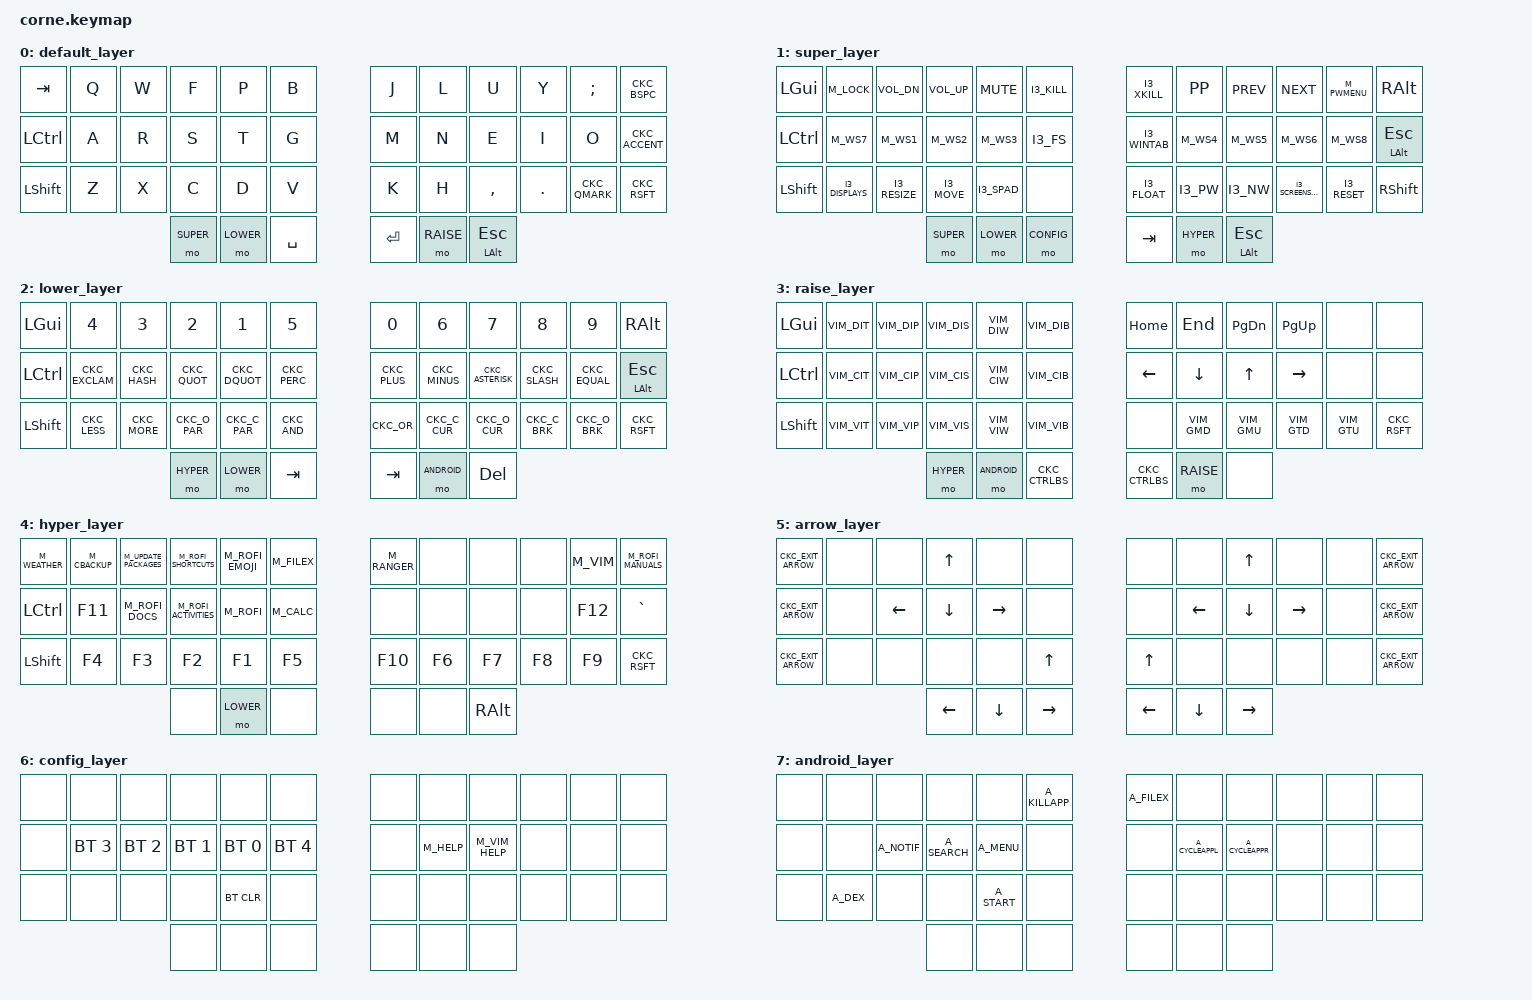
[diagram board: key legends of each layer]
// Copyright (c) 2022 Zeioth (Adrian Lopez)
// License: Creative Commons 3.0


/* PERSONAL NOTES:
 1. On vim you can enable C syntax for this file:
    :set syntax=C
*/

// TODOS: La tecla launcher de hyper no parece funcionar?

// Includes
// ---------------------------------------
#include <behaviors.dtsi>
#include <dt-bindings/zmk/keys.h>
#include <dt-bindings/zmk/bt.h>
#include "./helpers.h"

// LAYER ALIASES
// ---------------------------------------
#define DEFAULT 0
#define SUPER   1
#define LOWER   2
#define RAISE   3
#define HYPER   4
#define ARROW   5
#define CONFIG  6
#define ANDROID 7
#define NONE    0

// SPANISH KEYCODE ALIASES
// ---------------------------------------
#define ES_MINS SLASH // -
#define ES_ACUT QUOT  // ´ (dead)
#define ES_GRV  LBKT  // ` (dead)
#define ES_QUOT MINUS // '
#define ES_IEXL EQUAL // ¡
#define ES_PLUS RBKT  // +
#define ES_MORD GRAVE // º
#define ES_LABK NUBS  // <
#define ES_CCED NUHS  // Ç


// KEYMAPS
// ----------------------------------------------------------------------
ZMK_LAYER(default_layer, //  ########################################################################################################################################################

     // ╭─────────────┬─────────────┬─────────────┬─────────────┬─────────────┬─────────────╮   ╭─────────────┬─────────────┬─────────────┬─────────────┬─────────────┬─────────────╮
          &kp TAB       &kp Q         &kp W         &kp F         &kp P         &kp B             &kp J         &kp L         &kp U         &kp Y         &kp SEMI      &CKC_BSPC
     // ├─────────────┼─────────────┼─────────────┼─────────────┼─────────────┼─────────────┤   ├─────────────┼─────────────┼─────────────┼─────────────┼─────────────┼─────────────┤
          &kp LCTRL     &kp A         &kp R         &kp S         &kp T         &kp G             &kp M         &kp N         &kp E         &kp I         &kp O         &CKC_ACCENT
     // ├─────────────┼─────────────┼─────────────┼─────────────┼─────────────┼─────────────┤   ├─────────────┼─────────────┼─────────────┼─────────────┼─────────────┼─────────────┤
          &kp LSHFT     &kp Z         &kp X         &kp C         &kp D         &kp V             &kp K         &kp H         &kp COMMA     &kp DOT       &CKC_QMARK    &CKC_RSFT
     // ╰─────────────┼─────────────┼─────────────┼─────────────┼─────────────┼─────────────┤   ├─────────────┼─────────────┼─────────────┼─────────────┼─────────────┼─────────────┤
                                                    &mo SUPER     &mo LOWER     &kp SPACE         &kp RET       &mo RAISE     &mt LALT ESC
     //                                           ╰─────────────┴─────────────┴─────────────╯   ╰─────────────┴─────────────┴─────────────╯
)
ZMK_LAYER(super_layer,
     // ╭─────────────┬─────────────┬─────────────┬─────────────┬─────────────┬─────────────╮   ╭─────────────┬─────────────┬─────────────┬───────────────┬─────────────┬─────────────╮
          &kp LGUI      &M_LOCK       &kp K_VOL_DN  &kp K_VOL_UP  &kp K_MUTE    &I3_KILL          &I3_XKILL     &kp K_PP      &kp K_PREV    &kp K_NEXT     &M_PWMENU     &kp RALT
     // ├─────────────┼─────────────┼─────────────┼─────────────┼─────────────┼─────────────┤   ├─────────────┼─────────────┼─────────────┼───────────────┼─────────────┼─────────────┤
          &kp LCTRL     &M_WS7        &M_WS1        &M_WS2        &M_WS3        &I3_FS            &I3_WINTAB    &M_WS4        &M_WS5        &M_WS6         &M_WS8        &mt LALT ESC
     // ├─────────────┼─────────────┼─────────────┼─────────────┼─────────────┼─────────────┤   ├─────────────┼─────────────┼─────────────┼───────────────┼─────────────┼─────────────┤
          &kp LSHFT     &I3_DISPLAYS  &I3_RESIZE    &I3_MOVE      &I3_SPAD      &none             &I3_FLOAT     &I3_PW        &I3_NW        &I3_SCREENSHOT &I3_RESET     &kp RSHFT
     // ╰─────────────┼─────────────┼─────────────┼─────────────┼─────────────┼─────────────┤   ├─────────────┼─────────────┼─────────────┼───────────────┼─────────────┼─────────────┤
                                                    &mo SUPER    &mo LOWER      &mo CONFIG        &kp TAB       &mo HYPER     &mt LALT ESC
     //                                           ╰─────────────┴─────────────┴─────────────╯   ╰─────────────┴─────────────┴─────────────╯
)
ZMK_LAYER(lower_layer,
     // ╭─────────────┬─────────────┬─────────────┬─────────────┬─────────────┬─────────────╮   ╭─────────────┬─────────────┬──────────────┬─────────────┬─────────────┬─────────────╮
          &kp LGUI      &kp N4        &kp N3        &kp N2        &kp N1        &kp N5            &kp N0        &kp N6        &kp N7         &kp N8        &kp N9        &kp RALT
     // ├─────────────┼─────────────┼─────────────┼─────────────┼─────────────┼─────────────┤   ├─────────────┼─────────────┼──────────────┼─────────────┼─────────────┼─────────────┤
          &kp LCTRL     &CKC_EXCLAM   &CKC_HASH     &CKC_QUOT     &CKC_DQUOT    &CKC_PERC         &CKC_PLUS     &CKC_MINUS    &CKC_ASTERISK  &CKC_SLASH    &CKC_EQUAL    &mt LALT ESC
     // ├─────────────┼─────────────┼─────────────┼─────────────┼─────────────┼─────────────┤   ├─────────────┼─────────────┼──────────────┼─────────────┼─────────────┼─────────────┤
          &kp LSHFT     &CKC_LESS     &CKC_MORE     &CKC_O_PAR    &CKC_C_PAR    &CKC_AND          &CKC_OR       &CKC_C_CUR    &CKC_O_CUR     &CKC_C_BRK    &CKC_O_BRK    &CKC_RSFT
     // ╰─────────────┼─────────────┼─────────────┼─────────────┼─────────────┼─────────────┤   ├─────────────┼─────────────┼──────────────┼─────────────┼─────────────┼─────────────┤
                                                    &mo HYPER     &mo LOWER     &kp TAB           &kp TAB       &mo ANDROID   &kp DEL
     //                                           ╰─────────────┴─────────────┴─────────────╯   ╰─────────────┴─────────────┴──────────────╯
)
ZMK_LAYER(raise_layer,
     // ╭─────────────┬─────────────┬─────────────┬─────────────┬─────────────┬─────────────╮   ╭─────────────┬─────────────┬──────────────┬─────────────┬─────────────┬─────────────╮
          &kp LGUI      &VIM_DIT      &VIM_DIP      &VIM_DIS      &VIM_DIW      &VIM_DIB          &kp HOME      &kp END       &kp PAGE_DOWN &kp PAGE_UP    &none         &none
     // ├─────────────┼─────────────┼─────────────┼─────────────┼─────────────┼─────────────┤   ├─────────────┼─────────────┼──────────────┼─────────────┼─────────────┼─────────────┤
          &kp LCTRL     &VIM_CIT      &VIM_CIP      &VIM_CIS      &VIM_CIW      &VIM_CIB          &kp LEFT      &kp DOWN      &kp UP        &kp RIGHT      &none         &none
     // ├─────────────┼─────────────┼─────────────┼─────────────┼─────────────┼─────────────┤   ├─────────────┼─────────────┼──────────────┼─────────────┼─────────────┼─────────────┤
          &kp LSHFT     &VIM_VIT      &VIM_VIP      &VIM_VIS      &VIM_VIW      &VIM_VIB          &none         &VIM_GMD      &VIM_GMU      &VIM_GTD       &VIM_GTU      &CKC_RSFT
     // ╰─────────────┼─────────────┼─────────────┼─────────────┼─────────────┼─────────────┤   ├─────────────┼─────────────┼──────────────┼─────────────┼─────────────┼─────────────┤
                                                    &mo HYPER     &mo ANDROID   &CKC_CTRLBS       &CKC_CTRLBS   &mo RAISE     &none
     //                                           ╰─────────────┴─────────────┴─────────────╯   ╰─────────────┴─────────────┴──────────────╯
)
ZMK_LAYER(hyper_layer,
     // ╭─────────────┬─────────────┬───────────────────┬───────────────────┬──────────────┬─────────────╮   ╭─────────────┬─────────────┬─────────────┬─────────────┬─────────────┬────────────────╮
          &M_WEATHER    &M_CBACKUP    &M_UPDATE_PACKAGES  &M_ROFI_SHORTCUTS   &M_ROFI_EMOJI  &M_FILEX          &M_RANGER     &none          &none        &none         &M_VIM        &M_ROFI_MANUALS
     // ├─────────────┼─────────────┼───────────────────┼───────────────────┼──────────────┼─────────────┤   ├─────────────┼─────────────┼─────────────┼─────────────┼─────────────┼────────────────┤
          &kp LCTRL     &kp F11       &M_ROFI_DOCS        &M_ROFI_ACTIVITIES  &M_ROFI        &M_CALC           &none         &none         &none         &none         &kp F12       &kp GRAVE
     // ├─────────────┼─────────────┼───────────────────┼───────────────────┼──────────────┼─────────────┤   ├─────────────┼─────────────┼─────────────┼─────────────┼─────────────┼────────────────┤
          &kp LSHFT     &kp F4        &kp F3              &kp F2              &kp F1         &kp F5            &kp F10       &kp F6        &kp F7        &kp F8        &kp F9        &CKC_RSFT
     // ╰─────────────┼─────────────┼───────────────────┼───────────────────┼──────────────┼─────────────┤   ├─────────────┼─────────────┼─────────────┼─────────────┼─────────────┼────────────────┤
                                                          &none               &mo LOWER      &none             &none         &none         &kp RALT
     //                                                 ╰───────────────────┴──────────────┴─────────────╯   ╰─────────────┴─────────────┴─────────────╯
)
ZMK_LAYER(arrow_layer,
     // ╭────────────────┬─────────────┬─────────────┬─────────────┬─────────────┬─────────────╮   ╭─────────────┬─────────────┬─────────────┬─────────────┬─────────────┬────────────────╮
          &CKC_EXIT_ARROW  &none         &none         &kp UP        &none         &none             &none         &none         &kp UP        &none         &none         &CKC_EXIT_ARROW
     // ├────────────────┼─────────────┼─────────────┼─────────────┼─────────────┼─────────────┤   ├─────────────┼─────────────┼─────────────┼─────────────┼─────────────┼────────────────┤
          &CKC_EXIT_ARROW  &none         &kp LEFT      &kp DOWN      &kp RIGHT     &none             &none         &kp LEFT      &kp DOWN      &kp RIGHT     &none         &CKC_EXIT_ARROW
     // ├────────────────┼─────────────┼─────────────┼─────────────┼─────────────┼─────────────┤   ├─────────────┼─────────────┼─────────────┼─────────────┼─────────────┼────────────────┤
          &CKC_EXIT_ARROW  &none         &none         &none         &none         &kp UP            &kp UP        &none         &none         &none         &none         &CKC_EXIT_ARROW
     // ╰────────────────┼─────────────┼─────────────┼─────────────┼─────────────┼─────────────┤   ├─────────────┼─────────────┼─────────────┼─────────────┼─────────────┼────────────────┤
                                                       &kp LEFT      &kp DOWN      &kp RIGHT         &kp LEFT      &kp DOWN      &kp RIGHT
     //                                              ╰─────────────┴─────────────┴─────────────╯   ╰─────────────┴─────────────┴─────────────╯
)
ZMK_LAYER(config_layer,
     // ╭─────────────┬─────────────┬─────────────┬─────────────┬─────────────┬─────────────╮   ╭─────────────┬─────────────┬─────────────┬─────────────┬─────────────┬─────────────╮
          &none         &none         &none         &none         &none         &none             &none         &none         &none         &none         &none         &none
     // ├─────────────┼─────────────┼─────────────┼─────────────┼─────────────┼─────────────┤   ├─────────────┼─────────────┼─────────────┼─────────────┼─────────────┼─────────────┤
          &none         &bt BT_SEL 3  &bt BT_SEL 2  &bt BT_SEL 1  &bt BT_SEL 0  &bt BT_SEL 4      &none         &M_HELP       &M_VIM_HELP   &none         &none         &none
     // ├─────────────┼─────────────┼─────────────┼─────────────┼─────────────┼─────────────┤   ├─────────────┼─────────────┼─────────────┼─────────────┼─────────────┼─────────────┤
          &none         &none         &none         &none         &bt BT_CLR    &none             &none         &none         &none         &none         &none         &none
     // ╰─────────────┼─────────────┼─────────────┼─────────────┼─────────────┼─────────────┤   ├─────────────┼─────────────┼─────────────┼─────────────┼─────────────┼─────────────┤
                                                    &none         &none         &none             &none         &none         &none
     //                                           ╰─────────────┴─────────────┴─────────────╯   ╰─────────────┴─────────────┴─────────────╯
)
ZMK_LAYER(android_layer,
     // ╭─────────────┬─────────────┬─────────────┬─────────────┬─────────────┬─────────────╮   ╭─────────────┬─────────────┬─────────────┬─────────────┬─────────────┬─────────────╮
          &none         &none         &none         &none         &none         &A_KILLAPP        &A_FILEX      &none         &none         &none         &none         &none
     // ├─────────────┼─────────────┼─────────────┼─────────────┼─────────────┼─────────────┤   ├─────────────┼─────────────┼─────────────┼─────────────┼─────────────┼─────────────┤
          &none         &none         &A_NOTIF      &A_SEARCH     &A_MENU       &none             &none         &A_CYCLEAPPL  &A_CYCLEAPPR  &none         &none         &none
     // ├─────────────┼─────────────┼─────────────┼─────────────┼─────────────┼─────────────┤   ├─────────────┼─────────────┼─────────────┼─────────────┼─────────────┼─────────────┤
          &none         &A_DEX        &none         &none         &A_START      &none             &none         &none         &none         &none         &none         &none
     // ╰─────────────┼─────────────┼─────────────┼─────────────┼─────────────┼─────────────┤   ├─────────────┼─────────────┼─────────────┼─────────────┼─────────────┼─────────────┤
                                                    &none         &none         &none             &none         &none         &none
     //                                           ╰─────────────┴─────────────┴─────────────╯   ╰─────────────┴─────────────┴─────────────╯
)


// BASE LAYER MACROS
// -----------------------------------------------------------------------
ZMK_BEHAVIOR(CKC_CTRLBS, macro,     bindings = <&kp LC(BSPC)>;)                                                  // CTRL+BACKSPACE
ZMK_BEHAVIOR(CKC_BSPC,   mod_morph, bindings = <&kp BSPC>,      <&kp DEL>;        mods = <(MOD_LSFT|MOD_RSFT)>;) // BACKSPACE AND DEL
ZMK_BEHAVIOR(CKC_RSFT,   mod_morph, bindings = <&kp RSHFT>,     <&tog ARROW>;     mods = <(MOD_LSFT)>;)          // Enable and lock ARROW MODE when LSHIFT+RSHIFT are holded together in that order.
ZMK_BEHAVIOR(CKC_QMARK,  mod_morph, bindings = <&kp LS(MINUS)>, <&kp LS(EQUAL)>;  mods = <(MOD_LSFT|MOD_RSFT)>;) // ? and ¿

// SUPER LAYER MACROS
// -----------------------------------------------------------------------
ZMK_BEHAVIOR(M_WS1,         macro, bindings = <&kp LG(N1)>;)        // WORKSPACE 1
ZMK_BEHAVIOR(M_WS2,         macro, bindings = <&kp LG(N2)>;)        // WORKSPACE 2
ZMK_BEHAVIOR(M_WS3,         macro, bindings = <&kp LG(N3)>;)        // WORKSPACE 3
ZMK_BEHAVIOR(M_WS4,         macro, bindings = <&kp LG(N4)>;)        // WORKSPACE 4
ZMK_BEHAVIOR(M_WS5,         macro, bindings = <&kp LG(N5)>;)        // WORKSPACE 5
ZMK_BEHAVIOR(M_WS6,         macro, bindings = <&kp LG(N6)>;)        // WORKSPACE 6
ZMK_BEHAVIOR(M_WS7,         macro, bindings = <&kp LG(N7)>;)        // WORKSPACE 7
ZMK_BEHAVIOR(M_WS8,         macro, bindings = <&kp LG(N8)>;)        // WORKSPACE 8
ZMK_BEHAVIOR(M_LOCK,        macro, bindings = <&kp LS(LG(L))>;)     // LOCK SESSION
ZMK_BEHAVIOR(M_PWMENU,      macro, bindings = <&kp LS(LG(E))>;)     // POWER MENU
ZMK_BEHAVIOR(I3_FS,         macro, bindings = <&kp LG(F)>;)         // I3 FULL SCREEN
ZMK_BEHAVIOR(I3_DISPLAYS,   macro, bindings = <&kp LS(LG(D))>;)     // I3 DISPLAY MODE
ZMK_BEHAVIOR(I3_SCREENSHOT, macro, bindings = <&kp LS(LG(S))>;)     // I3 SCREENSHOT MODE
ZMK_BEHAVIOR(I3_RESIZE,     macro, bindings = <&kp LG(R)>;)     // I3 RESIZE MODE
ZMK_BEHAVIOR(I3_MOVE,       macro, bindings = <&kp LS(LG(A))>;)     // I3 MOVE MODE
ZMK_BEHAVIOR(I3_SPAD,       macro, bindings = <&kp LG(ES_MINS)>;)   // I3 SCRATCHPAD (CYCLE)
ZMK_BEHAVIOR(I3_WINTAB,     macro, bindings = <&kp LG(TAB)>;)       // I3 WINTAB
ZMK_BEHAVIOR(I3_PW,         macro, bindings = <&kp LG(PG_DN)>;)     // I3 PREVIOUS WINDOW
ZMK_BEHAVIOR(I3_NW,         macro, bindings = <&kp LG(PG_UP)>;)     // I3 NEXT WINDOW
ZMK_BEHAVIOR(I3_RESET,      macro, bindings = <&kp LS(LG(C))>,
                                              <&kp LS(LG(R))>;)     // I3 RESET
ZMK_BEHAVIOR(I3_FLOAT,      macro, bindings = <&kp LS(LG(SPACE))>;) // I3 FLOAT (TOGGLE)
ZMK_BEHAVIOR(I3_XKILL,      macro, bindings = <&kp LS(LG(X))>;)     // I3 XKILL
ZMK_BEHAVIOR(I3_KILL,       mod_morph, bindings = <&none>, <&kp LS(LG(Q))>;            mods = <(MOD_LSFT|MOD_RSFT)>;) // I3 KILL

// LOWER LAYER MACROS
// -----------------------------------------------------------------------
ZMK_BEHAVIOR(CKC_ACCENT,   mod_morph, bindings = <&kp ES_ACUT>,     <&kp ES_GRV>;       mods = <(MOD_LSFT|MOD_RSFT)>;) // ´ and `
ZMK_BEHAVIOR(CKC_HASH,     mod_morph, bindings = <&kp RA(N3)>,      <&kp RA(N4)>;       mods = <(MOD_LSFT|MOD_RSFT)>;) // #
ZMK_BEHAVIOR(CKC_QUOT,     mod_morph, bindings = <&kp ES_QUOT>,     <&kp LS(N3)>;       mods = <(MOD_LSFT|MOD_RSFT)>;) // ' and · (bullet)
ZMK_BEHAVIOR(CKC_DQUOT,    mod_morph, bindings = <&kp LS(N2)>,      <&kp LS(ES_ACUT)>;  mods = <(MOD_LSFT|MOD_RSFT)>;) // ]
ZMK_BEHAVIOR(CKC_QMA,      mod_morph, bindings = <&kp LS(ES_QUOT)>, <&kp LS(ES_IEXL)>;  mods = <(MOD_LSFT|MOD_RSFT)>;) // ? and ¿
ZMK_BEHAVIOR(CKC_EXCLAM,   mod_morph, bindings = <&kp LS(N1)>,      <&kp ES_IEXL>;      mods = <(MOD_LSFT|MOD_RSFT)>;) // ! and ¡
ZMK_BEHAVIOR(CKC_PERC,     mod_morph, bindings = <&kp LS(N5)>,      <&kp RA(N6)>;       mods = <(MOD_LSFT|MOD_RSFT)>;) // % and ¬
ZMK_BEHAVIOR(CKC_PLUS,     mod_morph, bindings = <&kp ES_PLUS>,     <&kp RA(N2)>;       mods = <(MOD_LSFT|MOD_RSFT)>;) // + and @
ZMK_BEHAVIOR(CKC_MINUS,    mod_morph, bindings = <&kp ES_MINS>,     <&kp LS(ES_MINS)>;  mods = <(MOD_LSFT|MOD_RSFT)>;) // - and _
ZMK_BEHAVIOR(CKC_ASTERISK, mod_morph, bindings = <&kp LS(ES_PLUS)>, <&kp LS(ES_GRV)>;   mods = <(MOD_LSFT|MOD_RSFT)>;) // * and ^
ZMK_BEHAVIOR(CKC_SLASH,    mod_morph, bindings = <&kp LS(N7)>,      <&kp RA(ES_MORD)>;  mods = <(MOD_LSFT|MOD_RSFT)>;) // '/' and '\'
ZMK_BEHAVIOR(CKC_EQUAL,    mod_morph, bindings = <&kp LS(N0)>,      <&kp LS(N0)>;       mods = <(MOD_LSFT|MOD_RSFT)>;) // =
ZMK_BEHAVIOR(CKC_LESS,     mod_morph, bindings = <&kp ES_LABK>,     <&kp RA(Y)>;        mods = <(MOD_LSFT|MOD_RSFT)>;) // < and ←
ZMK_BEHAVIOR(CKC_MORE,     mod_morph, bindings = <&kp LS(ES_LABK)>, <&kp RA(I)>;        mods = <(MOD_LSFT|MOD_RSFT)>;) // > and →
ZMK_BEHAVIOR(CKC_O_PAR,    mod_morph, bindings = <&kp LS(N8)>,      <&kp RA(E)>;        mods = <(MOD_LSFT|MOD_RSFT)>;) // ( and €
ZMK_BEHAVIOR(CKC_C_PAR,    mod_morph, bindings = <&kp LS(N9)>,      <&kp LS(N4)>;       mods = <(MOD_LSFT|MOD_RSFT)>;) // ) and $
ZMK_BEHAVIOR(CKC_AND,      mod_morph, bindings = <&kp LS(N6)>,      <&kp LS(ES_MORD)>;  mods = <(MOD_LSFT|MOD_RSFT)>;) // & and ª
ZMK_BEHAVIOR(CKC_OR,       mod_morph, bindings = <&kp RA(N1)>,      <&kp ES_MORD>;      mods = <(MOD_LSFT|MOD_RSFT)>;) // || and º
ZMK_BEHAVIOR(CKC_O_CUR,    mod_morph, bindings = <&kp RA(ES_ACUT)>, <&kp RA(ES_ACUT)>;  mods = <(MOD_LSFT|MOD_RSFT)>;) // {
ZMK_BEHAVIOR(CKC_C_CUR,    mod_morph, bindings = <&kp RA(ES_CCED)>, <&kp RA(ES_CCED)>;  mods = <(MOD_LSFT|MOD_RSFT)>;) // }
ZMK_BEHAVIOR(CKC_O_BRK,    mod_morph, bindings = <&kp RA(ES_GRV)>,  <&kp RA(ES_GRV)>;   mods = <(MOD_LSFT|MOD_RSFT)>;) // [
ZMK_BEHAVIOR(CKC_C_BRK,    mod_morph, bindings = <&kp RA(ES_PLUS)>, <&kp RA(ES_PLUS)>;  mods = <(MOD_LSFT|MOD_RSFT)>;) // ]

// RAISE LAYER MACROS
// -----------------------------------------------------------------------
ZMK_BEHAVIOR(VIM_CIT,      macro, bindings = <&kp C>, <&kp I>, <&kp T>;) // change inner tag
ZMK_BEHAVIOR(VIM_CIP,      macro, bindings = <&kp C>, <&kp I>, <&kp P>;) // change inner paragraph
ZMK_BEHAVIOR(VIM_CIS,      macro, bindings = <&kp C>, <&kp I>, <&kp S>;) // change inner sentence
ZMK_BEHAVIOR(VIM_CIW,      macro, bindings = <&kp C>, <&kp I>, <&kp W>;) // change inner word
ZMK_BEHAVIOR(VIM_CIB,      macro, bindings = <&kp C>, <&kp I>, <&kp B>;) // change inner block of code {}
ZMK_BEHAVIOR(VIM_VIT,      macro, bindings = <&kp V>, <&kp I>, <&kp T>;) // visual inner tag (selection)
ZMK_BEHAVIOR(VIM_VIP,      macro, bindings = <&kp V>, <&kp I>, <&kp P>;) // visual inner paragraph (selection)
ZMK_BEHAVIOR(VIM_VIS,      macro, bindings = <&kp V>, <&kp I>, <&kp S>;) // visual inner sentence (selection)
ZMK_BEHAVIOR(VIM_VIW,      macro, bindings = <&kp V>, <&kp I>, <&kp W>;) // visual inner word (selection)
ZMK_BEHAVIOR(VIM_VIB,      macro, bindings = <&kp V>, <&kp I>, <&kp B>;) // visual inner block of code {}
ZMK_BEHAVIOR(VIM_DIT,      macro, bindings = <&kp D>, <&kp I>, <&kp T>;) // delete inner tag
ZMK_BEHAVIOR(VIM_DIP,      macro, bindings = <&kp D>, <&kp I>, <&kp P>;) // delete inner paragraph
ZMK_BEHAVIOR(VIM_DIS,      macro, bindings = <&kp D>, <&kp I>, <&kp S>;) // delete inner sentence
ZMK_BEHAVIOR(VIM_DIW,      macro, bindings = <&kp D>, <&kp I>, <&kp W>;) // delete inner word
ZMK_BEHAVIOR(VIM_DIB,      macro, bindings = <&kp D>, <&kp I>, <&kp B>;) // delete inner block of code {}
ZMK_BEHAVIOR(VIM_GMD,      macro, bindings = <&kp G>, <&kp D>, <&kp M>;) // Go method - down [m
ZMK_BEHAVIOR(VIM_GMU,      macro, bindings = <&kp G>, <&kp M>, <&kp U>;) // Go method - up ]m
ZMK_BEHAVIOR(VIM_GTD,      macro, bindings = <&kp G>, <&kp T>, <&kp D>;) // Go tag/class - down ,c1/]]
ZMK_BEHAVIOR(VIM_GTU,      macro, bindings = <&kp G>, <&kp T>, <&kp U>;) // Go tag/class - up ,c2/[[

// HYPER LAYER MACROS
// -----------------------------------------------------------------------
ZMK_BEHAVIOR(M_CBACKUP,         macro, bindings = <&kp LG(F11)>;)    // Spawns a term → Encrypted backup to the cloud
ZMK_BEHAVIOR(M_UPDATE_PACKAGES, macro, bindings = <&kp LC(LG(B))>;)  // Spawns a term → Perform system update
ZMK_BEHAVIOR(M_ROFI,            macro, bindings = <&kp LG(D)>;)      // Spawns the application launcher
ZMK_BEHAVIOR(M_ROFI_SHORTCUTS,  macro, bindings = <&kp LC(LG(S))>;)  // Spawns rofi-shortcuts by zeioth
ZMK_BEHAVIOR(M_ROFI_EMOJI,      macro, bindings = <&kp LC(LG(E))>;)  // Shows all emojis and copy selection to clipboard
ZMK_BEHAVIOR(M_CALC,            macro, bindings = <&kp LG(F8)>;)     // Open calculator
ZMK_BEHAVIOR(M_ROFI_MANUALS,    macro, bindings = <&kp LC(LG(M))>;)  // Open rofi-zeal by zeioth
ZMK_BEHAVIOR(M_ROFI_DOCS,       macro, bindings = <&kp LS(LG(T))>;)  // Open rofi and browse in the documentation of my projects
ZMK_BEHAVIOR(M_ROFI_ACTIVITIES, macro, bindings = <&kp LG(T)>;)      // Open the activities  selector
ZMK_BEHAVIOR(M_RANGER,          macro, bindings = <&kp LG(F1)>;)     // Open ranger TUI file browser
ZMK_BEHAVIOR(M_FILEX,           macro, bindings = <&kp LG(F2)>;)     // Open GUI file browser
ZMK_BEHAVIOR(M_VIM,             macro, bindings = <&kp LG(F10)>;)    // Open VIM
ZMK_BEHAVIOR(M_WEATHER,         macro, bindings = <&kp LC(LG(W))>;)  // Open TUI weather

// ARROW MODE LAYER MACROS
// -----------------------------------------------------------------------
ZMK_BEHAVIOR(CKC_EXIT_ARROW,    macro, bindings = <&tog ARROW>;)    // EXIT ARROW MODE


// CONFIG LAYER MACROS
// -----------------------------------------------------------------------
// ZMK_BEHAVIOR(MODE_ANDROID,      macro, bindings = <&ls android_mode_layer>;)     // Toggles ANDROID mode on/off
//                                                                                  TODO: Once ZMK #1572 is cleared.
ZMK_BEHAVIOR(M_HELP,        macro, bindings = <&kp LS(LG(H))>;)     // SHOW KEYBOARD HELP
ZMK_BEHAVIOR(M_VIM_HELP,    macro, bindings = <&kp LS(LG(V))>;)     // SHOW VIM HELP

// ANDROID LAYER MACROS
// -----------------------------------------------------------------------
ZMK_BEHAVIOR(A_CYCLEAPPL,  macro, bindings = <&kp LA(TAB)>;)        // Cycles through opened apps (left)
ZMK_BEHAVIOR(A_CYCLEAPPR,  macro, bindings = <&kp LS(LA(TAB))>;)    // Allow cycling through apps (right)
ZMK_BEHAVIOR(A_START,      macro, bindings = <&kp LG(RET)>;)        // Go to the main screen
ZMK_BEHAVIOR(A_KILLAPP,    macro, bindings = <&kp LA(F4)>;)         // Closes the active app
ZMK_BEHAVIOR(A_SEARCH,     macro, bindings = <&kp LG(F)>;)          // Search and open an application
ZMK_BEHAVIOR(A_NOTIF,      macro, bindings = <&kp RG(N)>;)          // Open notifications. Navigate with tab, close with esc
ZMK_BEHAVIOR(A_DEX,        macro, bindings = <&kp LG(W)>;)          // Toggles DEX mode if the device supports it
ZMK_BEHAVIOR(A_FILEX,      macro, bindings = <&kp LS(LG(R))>;)      // Open default file browser
ZMK_BEHAVIOR(A_MENU,       macro, bindings = <&kp LG(RET)>,
                                             <&kp LA(A)>;)          // Open the application menu

